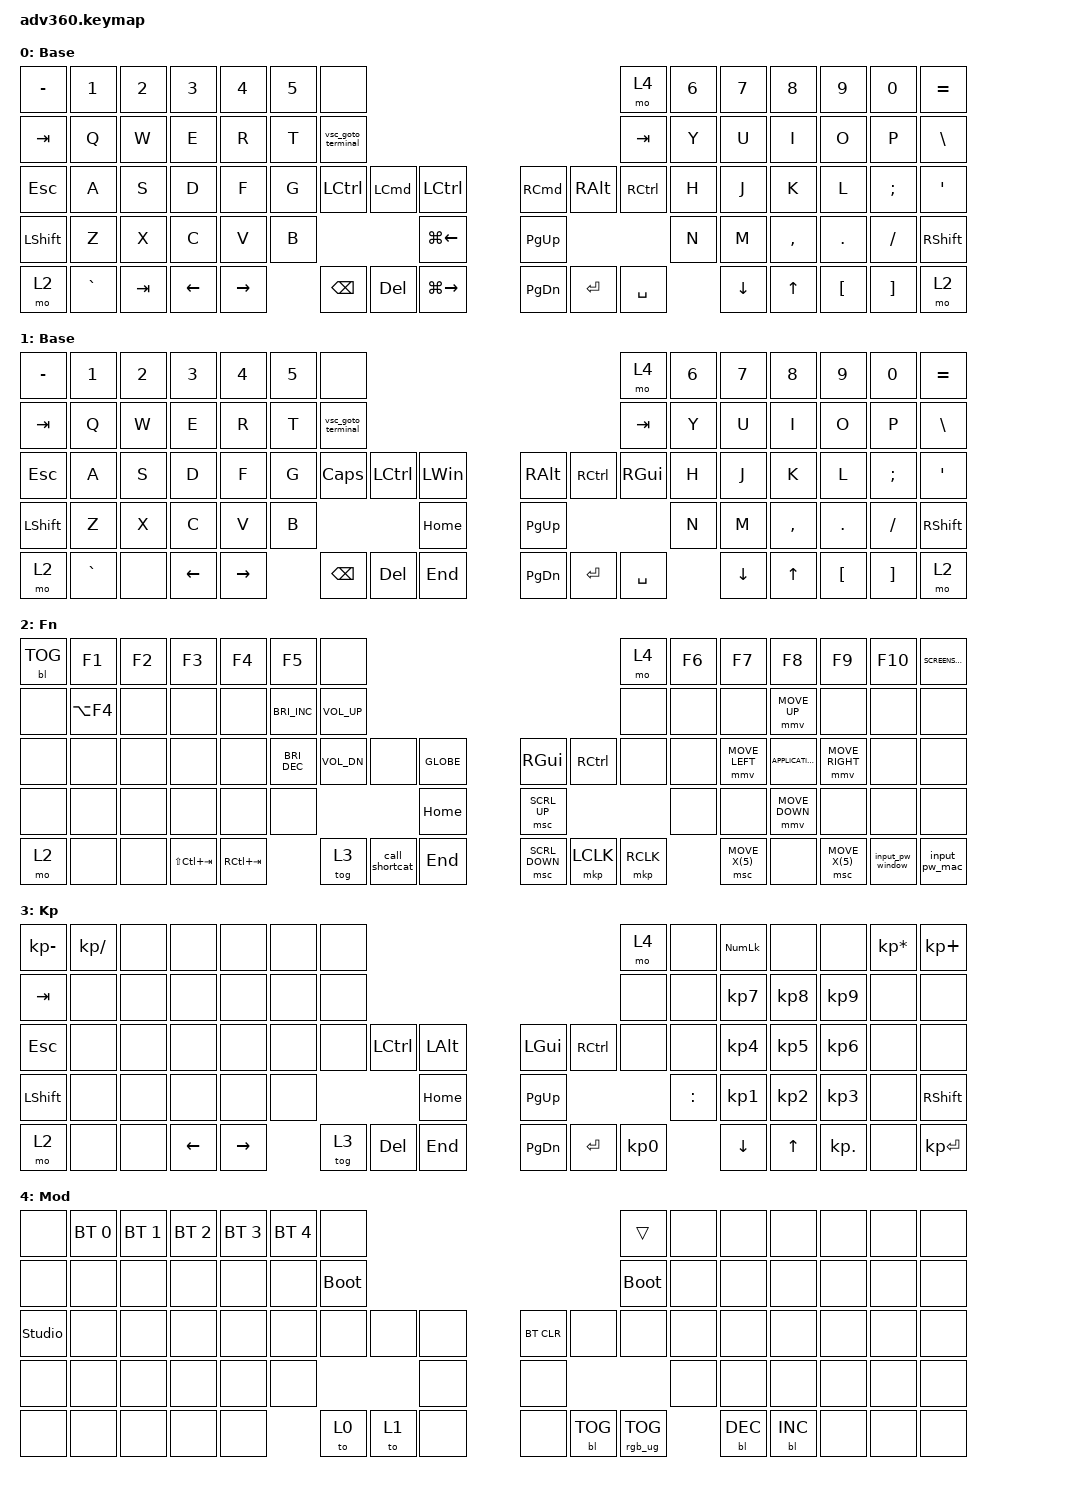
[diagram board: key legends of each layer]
#include <dt-bindings/zmk/stp.h>
#include <behaviors.dtsi>
#include <dt-bindings/zmk/backlight.h>
#include <dt-bindings/zmk/bt.h>
#include <dt-bindings/zmk/keys.h>
#include <dt-bindings/zmk/pointing.h>
#include <dt-bindings/zmk/rgb.h>

/ {
    behaviors {
        #include "macros.dtsi"
      #include "version.dtsi"

        hm: homerow_mods {
            compatible = "zmk,behavior-hold-tap";
            label = "HOMEROW_MODS";
            #binding-cells = <2>;
            tapping-term-ms = <200>;
            quick_tap_ms = <175>;
            flavor = "tap-preferred";
            bindings = <&kp>, <&kp>;
        };
    };

    macros {
        input_pw_mac: pw {
            compatible = "zmk,behavior-macro";
            #binding-cells = <0>;
            bindings = <&kp Y &kp M &kp M &kp I &kp J &kp N1 &kp N2 &kp N3 &kp EXCL &kp EXCL &kp RET>;
            label = "PW";
        };

        call_shortcat: shortcat {
            compatible = "zmk,behavior-macro";
            #binding-cells = <0>;
            bindings = <&kp RA(INSERT)>;
            label = "SHORTCAT";
            tap-ms = <0>;
        };

        switch_app_instance_mac: switch_instance {
            compatible = "zmk,behavior-macro";
            #binding-cells = <0>;
            bindings = <&kp LG(GRAVE)>;
            label = "SWITCH_INSTANCE";
            tap-ms = <0>;
        };

        vsc_goto_terminal: terminal {
            compatible = "zmk,behavior-macro";
            #binding-cells = <0>;
            bindings = <&kp LC(GRAVE)>;
            label = "TERMINAL";
        };

        switch_instance_window: switch_instance_window {
            compatible = "zmk,behavior-macro";
            #binding-cells = <0>;
            bindings = <&kp LC(GRAVE)>;
            label = "SWITCH_INSTANCE_WINDOW";
        };

        input_pw_window: input_pw_window {
            compatible = "zmk,behavior-macro";
            #binding-cells = <0>;
            bindings = <&none &kp LS(Y) &kp M &kp M &kp I &kp LS(J) &kp N8 &kp N2 &kp N1 &kp N5 &kp N1 &kp EXCL &kp N0 &kp N3 &kp N2 &kp N5 &kp RET>;
            label = "INPUT_PW_WINDOW";
        };
    };

    keymap {
        compatible = "zmk,keymap";

        mac {
            display-name = "Base";
            bindings = <
&kp MINUS  &kp N1     &kp N2   &kp N3    &kp N4     &kp N5  &none                                                                                         &mo 4      &kp N6  &kp N7    &kp N8        &kp N9    &kp N0    &kp EQUAL
&kp TAB    &kp Q      &kp W    &kp E     &kp R      &kp T   &vsc_goto_terminal                                                                            &kp TAB    &kp Y   &kp U     &kp I         &kp O     &kp P     &kp BSLH
&kp ESC    &kp A      &kp S    &kp D     &kp F      &kp G   &kp LEFT_CONTROL    &kp LEFT_COMMAND  &kp LEFT_CONTROL      &kp RIGHT_COMMAND  &kp RIGHT_ALT  &kp RCTRL  &kp H   &kp J     &kp K         &kp L     &kp SEMI  &kp SQT
&kp LSHFT  &kp Z      &kp X    &kp C     &kp V      &kp B                                         &kp LG(LEFT)          &kp PG_UP                                    &kp N   &kp M     &kp COMMA     &kp DOT   &kp FSLH  &kp RSHFT
&mo 2      &kp GRAVE  &kp TAB  &kp LEFT  &kp RIGHT          &kp BSPC            &kp DELETE        &kp LG(RIGHT)         &kp PG_DN          &kp ENTER      &kp SPACE          &kp DOWN  &kp UP_ARROW  &kp LBKT  &kp RBKT  &mo 2
            >;
        };

        windows {
            display-name = "Base";
            bindings = <
&kp MINUS  &kp N1     &kp N2  &kp N3    &kp N4     &kp N5  &none                                                                      &mo 4          &kp N6  &kp N7    &kp N8        &kp N9    &kp N0    &kp EQUAL
&kp TAB    &kp Q      &kp W   &kp E     &kp R      &kp T   &vsc_goto_terminal                                                         &kp TAB        &kp Y   &kp U     &kp I         &kp O     &kp P     &kp BSLH
&kp ESC    &kp A      &kp S   &kp D     &kp F      &kp G   &kp CAPS            &kp LCTRL  &kp LEFT_WIN      &kp RIGHT_ALT  &kp RCTRL  &kp RIGHT_GUI  &kp H   &kp J     &kp K         &kp L     &kp SEMI  &kp SQT
&kp LSHFT  &kp Z      &kp X   &kp C     &kp V      &kp B                                  &kp HOME          &kp PG_UP                                &kp N   &kp M     &kp COMMA     &kp DOT   &kp FSLH  &kp RSHFT
&mo 2      &kp GRAVE  &none   &kp LEFT  &kp RIGHT          &kp BSPC            &kp DEL    &kp END           &kp PG_DN      &kp ENTER  &kp SPACE              &kp DOWN  &kp UP_ARROW  &kp LBKT  &kp RBKT  &mo 2
            >;
        };

        fn {
            display-name = "Fn";
            bindings = <
&bl BL_TOG  &kp F1      &kp F2  &kp F3           &kp F4       &kp F5                &none                                                                      &mo 4      &kp F6  &kp F7          &kp F8             &kp F9           &kp F10           &kp K_SCREENSAVER
&none       &kp LA(F4)  &none   &none            &none        &kp C_BRIGHTNESS_INC  &kp C_VOLUME_UP                                                            &none      &none   &none           &mmv MOVE_UP       &none            &none             &none
&none       &none       &none   &none            &none        &kp C_BRIGHTNESS_DEC  &kp C_VOL_DN     &none           &kp GLOBE      &kp RIGHT_GUI   &kp RCTRL  &none      &none   &mmv MOVE_LEFT  &kp K_APPLICATION  &mmv MOVE_RIGHT  &none             &none
&none       &none       &none   &none            &none        &none                                                  &kp HOME       &msc SCRL_UP                          &none   &none           &mmv MOVE_DOWN     &none            &none             &none
&mo 2       &none       &none   &kp LS(LC(TAB))  &kp RC(TAB)                        &tog 3           &call_shortcat  &kp END        &msc SCRL_DOWN  &mkp LCLK  &mkp RCLK          &msc MOVE_X(5)  &none              &msc MOVE_X(5)   &input_pw_window  &input_pw_mac
            >;
        };

        keypad {
            display-name = "Kp";
            bindings = <
&kp KP_SUBTRACT  &kp KP_SLASH  &none  &none     &none      &none  &none                                                  &mo 4      &none      &kp KP_NUM  &none         &none       &kp KP_MULTIPLY  &kp KP_PLUS
&kp TAB          &none         &none  &none     &none      &none  &none                                                  &none      &none      &kp KP_N7   &kp KP_N8     &kp KP_N9   &none            &none
&kp ESC          &none         &none  &none     &none      &none  &none   &kp LCTRL  &kp LALT      &kp LGUI   &kp RCTRL  &none      &none      &kp KP_N4   &kp KP_N5     &kp KP_N6   &none            &none
&kp LSHFT        &none         &none  &none     &none      &none                     &kp HOME      &kp PG_UP                        &kp COLON  &kp KP_N1   &kp KP_N2     &kp KP_N3   &none            &kp RSHFT
&mo 2            &none         &none  &kp LEFT  &kp RIGHT         &tog 3  &kp DEL    &kp END       &kp PG_DN  &kp ENTER  &kp KP_N0             &kp DOWN    &kp UP_ARROW  &kp KP_DOT  &none            &kp KP_ENTER
            >;
        };

        mod {
            display-name = "Mod";
            bindings = <
&none           &bt BT_SEL 0  &bt BT_SEL 1  &bt BT_SEL 2  &bt BT_SEL 3  &bt BT_SEL 4  &none                                                  &trans           &none  &none       &none       &none  &none  &none
&none           &none         &none         &none         &none         &none         &bootloader                                            &bootloader      &none  &none       &none       &none  &none  &none
&studio_unlock  &none         &none         &none         &none         &none         &none        &none  &none      &bt BT_CLR  &none       &none            &none  &none       &none       &none  &none  &none
&none           &none         &none         &none         &none         &none                             &none      &none                                    &none  &none       &none       &none  &none  &none
&none           &none         &none         &none         &none                       &to 0        &to 1  &none      &none       &bl BL_TOG  &rgb_ug RGB_TOG         &bl BL_DEC  &bl BL_INC  &none  &none  &none
            >;
        };
    };
};
